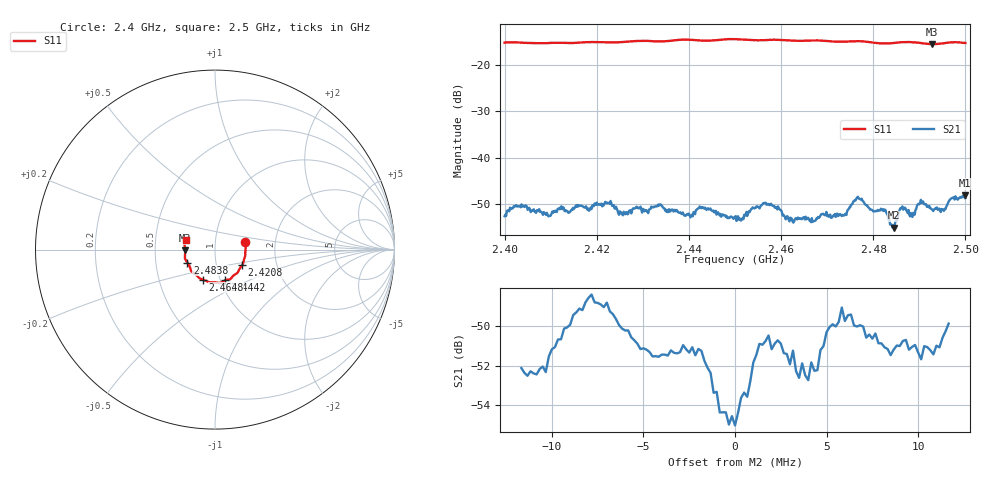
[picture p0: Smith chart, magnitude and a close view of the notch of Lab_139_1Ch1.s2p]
# Hz S RI R 50
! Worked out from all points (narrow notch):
!   601 points, 2.4 GHz to 2.5 GHz, reference 50 ohm
!   highest |S21| = -48.06 dB at 2.4998 GHz (marker M1); lowest = -55.0 dB at 2.4845 GHz (marker M2)
!   notch at M2: 3.8 dB deep, 1.97 MHz wide at half that depth
!   lowest |S11| = -15.6 dB at 2.4928 GHz (marker M3), VSWR 1.40, Z = 35.8 - j0.341 ohm
!   |S11| at or under -10 dB: start of sweep to end of sweep
!   S12 and S22 are empty: the file has one direction only
!   S11 on the Smith chart (normalised r, x): 2.4 GHz: 1.40, +0.12; 2.4208 GHz: 1.33, -0.24; 2.4442 GHz: 1.05, -0.37; 2.4648 GHz: 0.83, -0.29; 2.4838 GHz: 0.73, -0.11; 2.5 GHz: 0.72, +0.08
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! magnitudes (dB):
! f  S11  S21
! 2.4 GHz  -15.3  -52.6
! 2.4025 GHz  -15.2  -50.2
! 2.4095 GHz  -15.4  -52.6
! 2.4167 GHz  -15.2  -50.3
! 2.4208 GHz  -15.2  -50.1
! 2.4252 GHz  -15.2  -51.6
! 2.4333 GHz  -15.0  -50.1
! 2.4403 GHz  -14.7  -52.8
! 2.4442 GHz  -14.9  -50.9
! 2.45 GHz  -14.5  -52.7
! 2.4567 GHz  -14.7  -49.7
! 2.4648 GHz  -14.9  -52.8
! 2.4667 GHz  -14.8  -53.0
! 2.4737 GHz  -15.1  -52.4
! 2.4768 GHz  -15.0  -48.8
! 2.4833 GHz  -15.5  -53.4
! 2.4838 GHz  -15.4  -54.4
! 2.4845 GHz  -15.4  -55.0
! 2.4863 GHz  -15.2  -50.5
! 2.4928 GHz  -15.6  -51.2
! 2.4998 GHz  -15.3  -48.1
! 2.5 GHz  -15.4  -48.7
